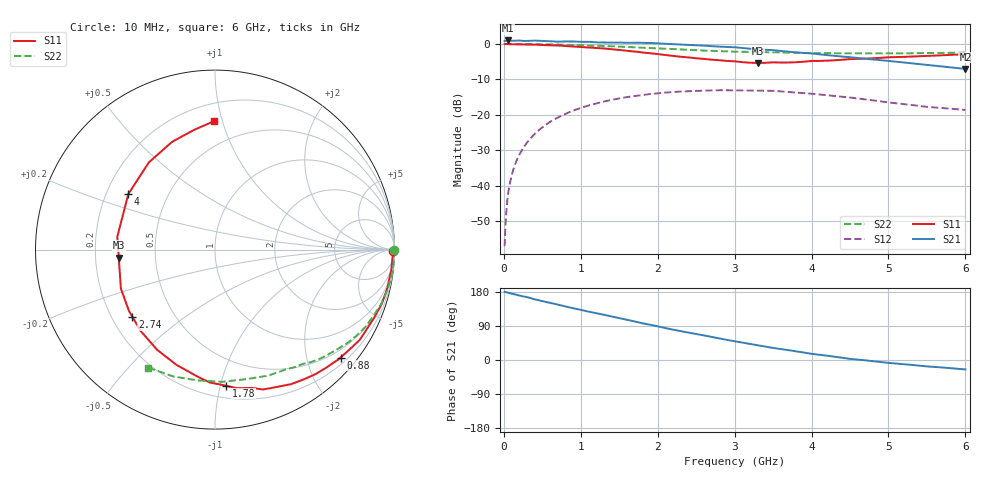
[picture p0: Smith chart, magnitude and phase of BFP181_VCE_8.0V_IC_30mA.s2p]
! Infineon Technologies  Discrete & RF Semiconductors
! BFP181
! VCE = 8.0 V,  IC =  30 mA
! Common Emitter S-Parameters:  Jan 2016
# GHz  S  MA  R  50
!  f  S11  S21  S12  S22
! GHz  MAG  ANG  MAG  ANG  MAG  ANG  MAG  ANG
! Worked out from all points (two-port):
!   210 points, 10 MHz to 6 GHz, reference 50 ohm
!   highest |S21| = 0.96 dB at 50 MHz (marker M1); lowest = -7.1 dB at 6 GHz (marker M2)
!   |S21| within 3 dB of the highest: start of sweep to 3.617 GHz
!   lowest |S11| = -5.4 dB at 3.3 GHz (marker M3), VSWR 3.33, Z = 15 - j1.87 ohm
!   |S11| at or under -10 dB: nowhere
!   |S22| runs from -2.7 to 0.0 dB; largest |S21 - S12| = 1.1
!   S11 on the Smith chart (normalised r, x): 10 MHz: open; 880 MHz: 0.33, -2.66; 1.78 GHz: 0.29, -1.04; 2.74 GHz: 0.29, -0.33; 4 GHz: 0.29, +0.27; 6 GHz: 0.32, +0.94
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0.01  0.99 -0.6  1.099 179.8  0.0014 79.7  0.9985 -0.2
0.015  0.9937 -0.8  1.101 179.7  0.002 82.3  0.9984 -0.3
0.025  0.9962 -1.2  1.106 179.3  0.0033 85.5  0.9982 -0.5
0.05  0.9905 -2.0  1.117 177.7  0.0069 88.8  0.998 -1.2
0.085  0.9891 -3.9  1.107 175.9  0.0117 86.7  0.9977 -2.0
0.14  0.9888 -6.5  1.106 173.3  0.0192 84.4  0.9972 -3.3
0.28  0.9831 -12.8  1.099 166.8  0.0377 80.3  0.9955 -6.6
0.54  0.96 -24.9  1.096 153.5  0.0715 71.0  0.9867 -12.5
0.88  0.9226 -40.7  1.081 137.6  0.1122 59.6  0.9662 -20.1
1.02  0.9024 -47.2  1.069 131.5  0.1267 55.1  0.9552 -23.1
1.5  0.8243 -71.0  1.046 110.5  0.1702 40.0  0.9138 -32.9
1.78  0.7605 -85.4  1.038 97.9  0.1889 32.0  0.8847 -38.2
2.02  0.7124 -98.2  1.013 87.8  0.2021 25.1  0.8619 -42.5
2.4  0.6447 -120.0  0.967 72.3  0.2155 14.7  0.8246 -49.4
2.74  0.5936 -140.8  0.922 59.2  0.221 6.4  0.7951 -54.7
3.1  0.5519 -163.2  0.874 46.1  0.2204 -2.3  0.7724 -60.7
3.3  0.5381 -175.3  0.838 39.2  0.2185 -6.7  0.7659 -63.9
4  0.5736 147.3  0.732 16.3  0.1981 -20.3  0.7421 -76.6
4.1  0.5749 143.1  0.712 13.9  0.1933 -21.6  0.7394 -78.6
4.5  0.6097 127.2  0.648 3.0  0.1751 -27.4  0.7379 -86.9
5.1  0.6503 109.3  0.56 -9.3  0.1453 -30.7  0.735 -99.7
6  0.7152 90.5  0.443 -24.8  0.117 -24.8  0.7549 -119.4
